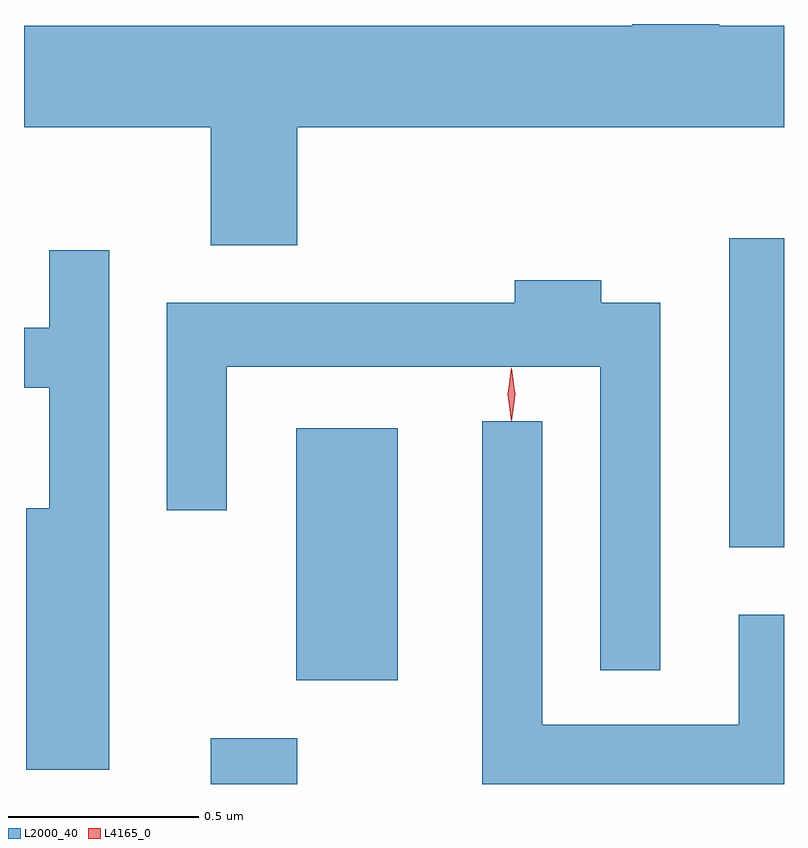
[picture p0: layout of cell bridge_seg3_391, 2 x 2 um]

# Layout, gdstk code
import gdstk
lib = gdstk.Library(unit=1e-6, precision=1e-09)
def R(c, l, rs):  # rectangles x0, y0, x1, y1
    for r in rs: c.add(gdstk.rectangle(r[:2], r[2:], *l))
def P(c, l, *ps):  # polygons
    for p in ps: c.add(gdstk.Polygon(p, *l))
L2000_40 = (2000, 40)
L4165_0 = (4165, 0)

bridge_seg3_391 = lib.new_cell('bridge_seg3_391')
R(bridge_seg3_391, L2000_40, [(549.521,1199.768,549.749,1199.889), (549.746,1200.041,550.014,1200.704), (550.886,1200.391,551.03,1201.204)])
P(bridge_seg3_391, L2000_40, [(549.749,1201.496),(551.03,1201.496),(551.03,1201.764),(550.859,1201.764),(550.859,1201.768),(550.631,1201.768),(550.631,1201.764),(549.03,1201.764),(549.03,1201.496),(549.521,1201.496),(549.521,1201.186),(549.749,1201.186)],
  [(549.254,1201.173),(549.096,1201.173),(549.096,1200.969),(549.03,1200.969),(549.03,1200.811),(549.096,1200.811),(549.096,1200.494),(549.036,1200.494),(549.036,1199.806),(549.254,1199.806)],
  [(550.704,1201.034),(550.549,1201.034),(550.549,1201.094),(550.321,1201.094),(550.321,1201.034),(549.406,1201.034),(549.406,1200.488),(549.564,1200.488),(549.564,1200.866),(550.546,1200.866),(550.546,1200.068),(550.704,1200.068)],
  [(551.03,1200.214),(550.911,1200.214),(550.911,1199.924),(550.394,1199.924),(550.394,1200.723),(550.236,1200.723),(550.236,1199.768),(551.03,1199.768)])
P(bridge_seg3_391, L4165_0, [(550.313,1200.727),(550.313,1200.727),(550.303,1200.794),(550.312,1200.86),(550.313,1200.86),(550.313,1200.86),(550.323,1200.794),(550.314,1200.727)],
  [(550.312,1200.724),(550.303,1200.793),(550.312,1200.862),(550.313,1200.863),(550.313,1200.862),(550.323,1200.793),(550.313,1200.724),(550.313,1200.724)])

lib.write_gds('bridge_seg3_391.gds')
